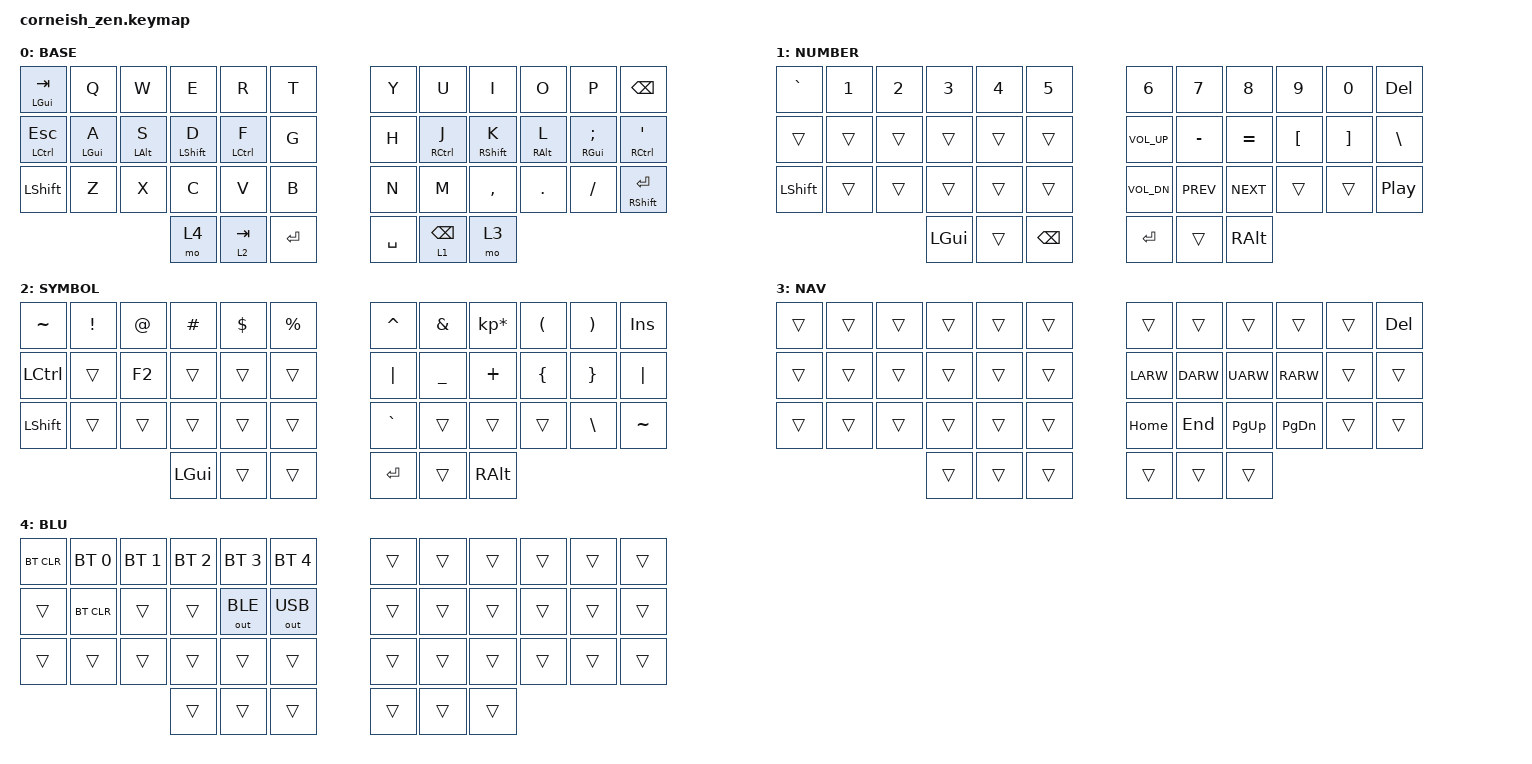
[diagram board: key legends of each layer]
#include <behaviors.dtsi>
#include <dt-bindings/zmk/keys.h>
#include <dt-bindings/zmk/bt.h>
#include <dt-bindings/zmk/outputs.h>

/ {
  chosen {
    zmk,matrix_transform = &default_transform;
    //zmk,matrix_transform = &five_column_transform;
  };
};

// Using layer taps on thumbs, having quick tap as well helps w/ repeating space/backspace
&lt { quick_tap_ms = <200>; };

&mt { tapping-term-ms = <250>; };

/ {
    combos {
        compatible = "zmk,combos";

        combo-bt {
        timeout-ms = <50>;
            key-positions = <36 37>;
            bindings = <&mo 4>;
        };
    };

    behaviors {
	hm: homerow_mods {
        	compatible = "zmk,behavior-hold-tap";
        	label = "HOMEROW_MODS";
        	#binding-cells = <2>;
        	tapping-term-ms = <200>;
        	quick-tap-ms = <50>;
        	flavor = "tap-preferred";
        	bindings = <&kp>, <&kp>;
        };
    };

    keymap {
        compatible = "zmk,keymap";

        default_layer {
                        label = "BASE";
                        bindings = <
   &mt LGUI TAB   &kp Q &kp W &kp E &kp R &kp T   &kp Y &kp U  &kp I     &kp O   &kp P    &kp BSPC
   &mt LCTRL ESC &hm LGUI A &hm LALT S &hm LSHFT D &hm LCTRL F &kp G &kp H &hm RCTRL J &hm RSHFT K &hm RALT L &hm RGUI SEMI &mt RCTRL SQT
   &kp LSHFT &kp Z &kp X &kp C &kp V &kp B   &kp N &kp M  &kp COMMA &kp DOT &kp FSLH &mt RSHFT RET
                  &mo 4 &lt 2 TAB &kp RET   &kp SPACE &lt 1 BSPC &mo 3
                        >;
                };
        lower_layer {
                        label = "NUMBER";
                        bindings = <
   &kp GRAVE    &kp N1       &kp N2       &kp N3       &kp N4       &kp N5         &kp N6   &kp N7   &kp N8 &kp N9    &kp N0 &kp DEL
   &trans &trans &trans &trans &trans &trans   &kp C_VOL_UP &kp MINUS &kp EQUAL &kp LBKT &kp RBKT &kp BSLH
   &kp LSHFT  &trans       &trans       &trans       &trans       &trans         &kp C_VOL_DN   &kp C_PREV   &kp C_NEXT &trans    &trans &kp C_PP
                          	        &kp LGUI     &trans       &kp BSPC      &kp RET  &trans   &kp RALT
                        >;
                };

        raise_layer {
                        label = "SYMBOL";
                        bindings = <
   &kp TILDE  &kp EXCL &kp AT &kp HASH &kp DLLR &kp PRCNT   &kp CARET &kp AMPS  &kp KP_MULTIPLY &kp LPAR &kp RPAR &kp INS
   &kp LCTRL &trans   &kp F2 &trans   &trans   &trans      &kp PIPE &kp UNDER &kp PLUS  &kp LBRC &kp RBRC &kp PIPE
   &kp LSHFT &trans &trans &trans &trans &trans      &kp GRAVE &trans  &trans  &trans &kp BSLH &kp TILDE
                    	     &kp LGUI &trans   &trans   &kp RET   &trans    &kp RALT
                        >;
                };

	nav_layer {
			label = "NAV";
			bindings = <
  &trans &trans &trans &trans &trans &trans	&trans &trans &trans &trans &trans &kp DEL
  &trans &trans &trans &trans &trans &trans	&kp LARW &kp DARW &kp UARW &kp RARW &trans &trans
  &trans &trans &trans &trans &trans &trans	&kp HOME &kp END &kp PG_UP &kp PG_DN &trans &trans
  		       &trans &trans &trans	&trans &trans &trans
  			>;
		};

        blu_layer {
            label = "BLU";
            bindings = <
    &bt BT_CLR &bt BT_SEL 0 &bt BT_SEL 1 &bt BT_SEL 2 &bt BT_SEL 3 &bt BT_SEL 4 &trans &trans &trans &trans &trans &trans
    &trans &bt BT_CLR &trans &trans &out OUT_BLE &out OUT_USB       &trans &trans &trans &trans &trans &trans
    &trans &trans &trans &trans &trans &trans       &trans &trans &trans &trans &trans &trans
                         &trans &trans &trans       &trans &trans &trans
            >;
        };

        };
};
